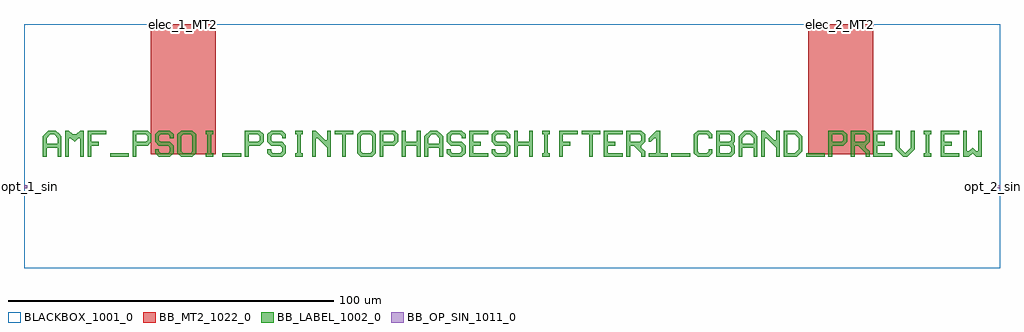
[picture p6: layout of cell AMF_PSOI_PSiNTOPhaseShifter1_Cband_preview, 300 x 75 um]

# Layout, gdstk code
import gdstk
lib = gdstk.Library(unit=1e-6, precision=1e-09)
def R(c, l, rs):  # rectangles x0, y0, x1, y1
    for r in rs: c.add(gdstk.rectangle(r[:2], r[2:], *l))
def P(c, l, *ps):  # polygons
    for p in ps: c.add(gdstk.Polygon(p, *l))
BLACKBOX_1001_0 = (1001, 0)
BB_LABEL_1002_0 = (1002, 0)
BB_OP_SIN_1011_0 = (1011, 0)
BB_MT2_1022_0 = (1022, 0)

amf_psoi_psintophaseshif = lib.new_cell('AMF_PSOI_PSiNTOPhaseShifter1_Cband_preview')
R(amf_psoi_psintophaseshif, BLACKBOX_1001_0, [(0,-25,300,50)])
R(amf_psoi_psintophaseshif, BB_LABEL_1002_0, [(26.473,9.141,32.223,10.291), (60.973,9.141,66.723,10.291), (198.973,9.141,204.723,10.291), (240.373,9.141,246.123,10.291)])
P(amf_psoi_psintophaseshif, BB_LABEL_1002_0, [(5.773,9.141),(5.773,15.466),(7.498,17.191),(9.798,17.191),(10.948,16.041),(8.073,16.041),(6.923,14.891),(6.923,13.166),(10.373,13.166),(10.373,14.891),(9.223,16.041),(10.948,16.041),(11.523,15.466),(11.523,9.141),(10.373,9.141),(10.373,12.016),(6.923,12.016),(6.923,9.141)],
  [(12.673,9.141),(12.673,17.191),(13.823,17.191),(14.973,16.041),(16.123,16.041),(17.273,17.191),(18.423,17.191),(18.423,9.141),(17.273,9.141),(17.273,14.891),(16.698,14.891),(15.548,13.741),(14.398,14.891),(13.823,14.891),(13.823,9.141)],
  [(19.573,9.141),(19.573,17.191),(25.323,17.191),(25.323,16.041),(20.723,16.041),(20.723,13.741),(23.023,13.741),(23.023,12.591),(20.723,12.591),(20.723,9.141)],
  [(33.373,9.141),(33.373,17.191),(37.973,17.191),(39.123,16.041),(39.123,13.741),(37.973,12.591),(34.523,12.591),(34.523,13.741),(37.398,13.741),(37.973,14.316),(37.973,15.466),(37.398,16.041),(34.523,16.041),(34.523,9.141)],
  [(41.423,9.141),(40.273,10.291),(40.273,11.441),(41.423,11.441),(41.423,10.866),(41.998,10.291),(44.298,10.291),(44.873,10.866),(44.873,12.016),(44.298,12.591),(41.423,12.591),(40.273,13.741),(40.273,16.041),(41.423,17.191),(44.873,17.191),(46.023,16.041),(46.023,14.891),(44.873,14.891),(44.873,15.466),(44.298,16.041),(41.998,16.041),(41.423,15.466),(41.423,14.316),(41.998,13.741),(44.873,13.741),(46.023,12.591),(46.023,10.291),(44.873,9.141)],
  [(48.323,9.141),(47.173,10.291),(47.173,16.041),(48.323,17.191),(51.773,17.191),(52.923,16.041),(52.923,13.166),(51.773,13.166),(51.773,15.466),(51.198,16.041),(48.898,16.041),(48.323,15.466),(48.323,10.866),(48.898,10.291),(51.198,10.291),(51.773,10.866),(51.773,13.166),(52.923,13.166),(52.923,10.291),(51.773,9.141)],
  [(55.798,9.141),(55.798,10.291),(56.373,10.291),(56.373,16.041),(55.798,16.041),(55.798,17.191),(58.098,17.191),(58.098,16.041),(57.523,16.041),(57.523,10.291),(58.098,10.291),(58.098,9.141)],
  [(67.873,9.141),(67.873,17.191),(72.473,17.191),(73.623,16.041),(73.623,13.741),(72.473,12.591),(69.023,12.591),(69.023,13.741),(71.898,13.741),(72.473,14.316),(72.473,15.466),(71.898,16.041),(69.023,16.041),(69.023,9.141)],
  [(75.923,9.141),(74.773,10.291),(74.773,11.441),(75.923,11.441),(75.923,10.866),(76.498,10.291),(78.798,10.291),(79.373,10.866),(79.373,12.016),(78.798,12.591),(75.923,12.591),(74.773,13.741),(74.773,16.041),(75.923,17.191),(79.373,17.191),(80.523,16.041),(80.523,14.891),(79.373,14.891),(79.373,15.466),(78.798,16.041),(76.498,16.041),(75.923,15.466),(75.923,14.316),(76.498,13.741),(79.373,13.741),(80.523,12.591),(80.523,10.291),(79.373,9.141)],
  [(83.398,9.141),(83.398,10.291),(83.973,10.291),(83.973,16.041),(83.398,16.041),(83.398,17.191),(85.698,17.191),(85.698,16.041),(85.123,16.041),(85.123,10.291),(85.698,10.291),(85.698,9.141)],
  [(88.573,9.141),(88.573,17.191),(89.723,17.191),(92.598,14.316),(93.173,14.316),(93.173,17.191),(94.323,17.191),(94.323,9.141),(93.173,9.141),(93.173,12.016),(90.298,14.891),(89.723,14.891),(89.723,9.141)],
  [(97.773,9.141),(97.773,16.041),(95.473,16.041),(95.473,17.191),(101.223,17.191),(101.223,16.041),(98.923,16.041),(98.923,9.141)],
  [(103.523,9.141),(102.373,10.291),(102.373,16.041),(103.523,17.191),(106.973,17.191),(108.123,16.041),(108.123,13.166),(106.973,13.166),(106.973,15.466),(106.398,16.041),(104.098,16.041),(103.523,15.466),(103.523,10.866),(104.098,10.291),(106.398,10.291),(106.973,10.866),(106.973,13.166),(108.123,13.166),(108.123,10.291),(106.973,9.141)],
  [(109.273,9.141),(109.273,17.191),(113.873,17.191),(115.023,16.041),(115.023,13.741),(113.873,12.591),(110.423,12.591),(110.423,13.741),(113.298,13.741),(113.873,14.316),(113.873,15.466),(113.298,16.041),(110.423,16.041),(110.423,9.141)],
  [(116.173,9.141),(116.173,17.191),(117.323,17.191),(117.323,13.741),(120.773,13.741),(120.773,17.191),(121.923,17.191),(121.923,9.141),(120.773,9.141),(120.773,12.591),(117.323,12.591),(117.323,9.141)],
  [(123.073,9.141),(123.073,15.466),(124.798,17.191),(127.098,17.191),(128.248,16.041),(125.373,16.041),(124.223,14.891),(124.223,13.166),(127.673,13.166),(127.673,14.891),(126.523,16.041),(128.248,16.041),(128.823,15.466),(128.823,9.141),(127.673,9.141),(127.673,12.016),(124.223,12.016),(124.223,9.141)],
  [(131.123,9.141),(129.973,10.291),(129.973,11.441),(131.123,11.441),(131.123,10.866),(131.698,10.291),(133.998,10.291),(134.573,10.866),(134.573,12.016),(133.998,12.591),(131.123,12.591),(129.973,13.741),(129.973,16.041),(131.123,17.191),(134.573,17.191),(135.723,16.041),(135.723,14.891),(134.573,14.891),(134.573,15.466),(133.998,16.041),(131.698,16.041),(131.123,15.466),(131.123,14.316),(131.698,13.741),(134.573,13.741),(135.723,12.591),(135.723,10.291),(134.573,9.141)],
  [(136.873,9.141),(136.873,17.191),(142.623,17.191),(142.623,16.041),(138.023,16.041),(138.023,13.741),(140.323,13.741),(140.323,12.591),(138.023,12.591),(138.023,10.291),(142.623,10.291),(142.623,9.141)],
  [(144.923,9.141),(143.773,10.291),(143.773,11.441),(144.923,11.441),(144.923,10.866),(145.498,10.291),(147.798,10.291),(148.373,10.866),(148.373,12.016),(147.798,12.591),(144.923,12.591),(143.773,13.741),(143.773,16.041),(144.923,17.191),(148.373,17.191),(149.523,16.041),(149.523,14.891),(148.373,14.891),(148.373,15.466),(147.798,16.041),(145.498,16.041),(144.923,15.466),(144.923,14.316),(145.498,13.741),(148.373,13.741),(149.523,12.591),(149.523,10.291),(148.373,9.141)],
  [(150.673,9.141),(150.673,17.191),(151.823,17.191),(151.823,13.741),(155.273,13.741),(155.273,17.191),(156.423,17.191),(156.423,9.141),(155.273,9.141),(155.273,12.591),(151.823,12.591),(151.823,9.141)],
  [(159.298,9.141),(159.298,10.291),(159.873,10.291),(159.873,16.041),(159.298,16.041),(159.298,17.191),(161.598,17.191),(161.598,16.041),(161.023,16.041),(161.023,10.291),(161.598,10.291),(161.598,9.141)],
  [(164.473,9.141),(164.473,17.191),(170.223,17.191),(170.223,16.041),(165.623,16.041),(165.623,13.741),(167.923,13.741),(167.923,12.591),(165.623,12.591),(165.623,9.141)],
  [(173.673,9.141),(173.673,16.041),(171.373,16.041),(171.373,17.191),(177.123,17.191),(177.123,16.041),(174.823,16.041),(174.823,9.141)],
  [(178.273,9.141),(178.273,17.191),(184.023,17.191),(184.023,16.041),(179.423,16.041),(179.423,13.741),(181.723,13.741),(181.723,12.591),(179.423,12.591),(179.423,10.291),(184.023,10.291),(184.023,9.141)],
  [(185.173,9.141),(185.173,17.191),(189.773,17.191),(190.923,16.041),(186.323,16.041),(186.323,13.741),(189.198,13.741),(189.773,14.316),(189.773,15.466),(189.198,16.041),(190.923,16.041),(190.923,13.741),(189.773,12.591),(189.773,12.016),(190.923,10.866),(190.923,9.141),(189.773,9.141),(189.773,10.291),(187.473,12.591),(186.323,12.591),(186.323,9.141)],
  [(192.073,9.141),(192.073,10.291),(194.373,10.291),(194.373,14.891),(193.798,14.891),(192.648,13.741),(192.073,13.741),(192.073,14.891),(194.373,17.191),(195.523,17.191),(195.523,10.291),(197.823,10.291),(197.823,9.141)],
  [(207.023,9.141),(205.873,10.291),(205.873,16.041),(207.023,17.191),(210.473,17.191),(211.623,16.041),(211.623,14.891),(210.473,14.891),(210.473,15.466),(209.898,16.041),(207.598,16.041),(207.023,15.466),(207.023,10.866),(207.598,10.291),(209.898,10.291),(210.473,10.866),(210.473,11.441),(211.623,11.441),(211.623,10.291),(210.473,9.141)],
  [(212.773,9.141),(212.773,17.191),(217.373,17.191),(218.523,16.041),(213.923,16.041),(213.923,13.741),(216.798,13.741),(217.373,14.316),(217.373,15.466),(216.798,16.041),(218.523,16.041),(218.523,13.741),(217.948,13.166),(218.523,12.591),(213.923,12.591),(213.923,10.291),(216.798,10.291),(217.373,10.866),(217.373,12.016),(216.798,12.591),(218.523,12.591),(218.523,10.291),(217.373,9.141)],
  [(219.673,9.141),(219.673,15.466),(221.398,17.191),(223.698,17.191),(224.848,16.041),(221.973,16.041),(220.823,14.891),(220.823,13.166),(224.273,13.166),(224.273,14.891),(223.123,16.041),(224.848,16.041),(225.423,15.466),(225.423,9.141),(224.273,9.141),(224.273,12.016),(220.823,12.016),(220.823,9.141)],
  [(226.573,9.141),(226.573,17.191),(227.723,17.191),(230.598,14.316),(231.173,14.316),(231.173,17.191),(232.323,17.191),(232.323,9.141),(231.173,9.141),(231.173,12.016),(228.298,14.891),(227.723,14.891),(227.723,9.141)],
  [(233.473,9.141),(233.473,17.191),(237.498,17.191),(238.648,16.041),(234.623,16.041),(234.623,10.291),(236.923,10.291),(238.073,11.441),(238.073,14.891),(236.923,16.041),(238.648,16.041),(239.223,15.466),(239.223,10.866),(237.498,9.141)],
  [(247.273,9.141),(247.273,17.191),(251.873,17.191),(253.023,16.041),(253.023,13.741),(251.873,12.591),(248.423,12.591),(248.423,13.741),(251.298,13.741),(251.873,14.316),(251.873,15.466),(251.298,16.041),(248.423,16.041),(248.423,9.141)],
  [(254.173,9.141),(254.173,17.191),(258.773,17.191),(259.923,16.041),(255.323,16.041),(255.323,13.741),(258.198,13.741),(258.773,14.316),(258.773,15.466),(258.198,16.041),(259.923,16.041),(259.923,13.741),(258.773,12.591),(258.773,12.016),(259.923,10.866),(259.923,9.141),(258.773,9.141),(258.773,10.291),(256.473,12.591),(255.323,12.591),(255.323,9.141)],
  [(261.073,9.141),(261.073,17.191),(266.823,17.191),(266.823,16.041),(262.223,16.041),(262.223,13.741),(264.523,13.741),(264.523,12.591),(262.223,12.591),(262.223,10.291),(266.823,10.291),(266.823,9.141)],
  [(270.273,9.141),(267.973,11.441),(267.973,17.191),(269.123,17.191),(269.123,12.016),(270.848,10.291),(272.573,12.016),(272.573,17.191),(273.723,17.191),(273.723,11.441),(271.423,9.141)],
  [(276.598,9.141),(276.598,10.291),(277.173,10.291),(277.173,16.041),(276.598,16.041),(276.598,17.191),(278.898,17.191),(278.898,16.041),(278.323,16.041),(278.323,10.291),(278.898,10.291),(278.898,9.141)],
  [(281.773,9.141),(281.773,17.191),(287.523,17.191),(287.523,16.041),(282.923,16.041),(282.923,13.741),(285.223,13.741),(285.223,12.591),(282.923,12.591),(282.923,10.291),(287.523,10.291),(287.523,9.141)],
  [(288.673,9.141),(288.673,17.191),(289.823,17.191),(289.823,10.866),(290.398,10.866),(291.548,12.016),(292.698,10.866),(293.273,10.866),(293.273,17.191),(294.423,17.191),(294.423,9.141),(292.698,9.141),(291.548,10.291),(290.398,9.141)])
R(amf_psoi_psintophaseshif, BB_OP_SIN_1011_0, [(0,-0.5,1,0.5), (299,-0.5,300,0.5)])
R(amf_psoi_psintophaseshif, BB_MT2_1022_0, [(39,10,59,50), (241,10,261,50)])
amf_psoi_psintophaseshif.add(gdstk.Label('elec_1_MT2', (49,50), layer=1022, texttype=0))
amf_psoi_psintophaseshif.add(gdstk.Label('elec_2_MT2', (251,50), layer=1022, texttype=0))
amf_psoi_psintophaseshif.add(gdstk.Label('opt_2_sin', (300,0), layer=1011, texttype=0))
amf_psoi_psintophaseshif.add(gdstk.Label('opt_1_sin', (0,0), layer=1011, texttype=0))

lib.write_gds('AMF_PSOI_PSiNTOPhaseShifter1_Cband_preview.gds')
